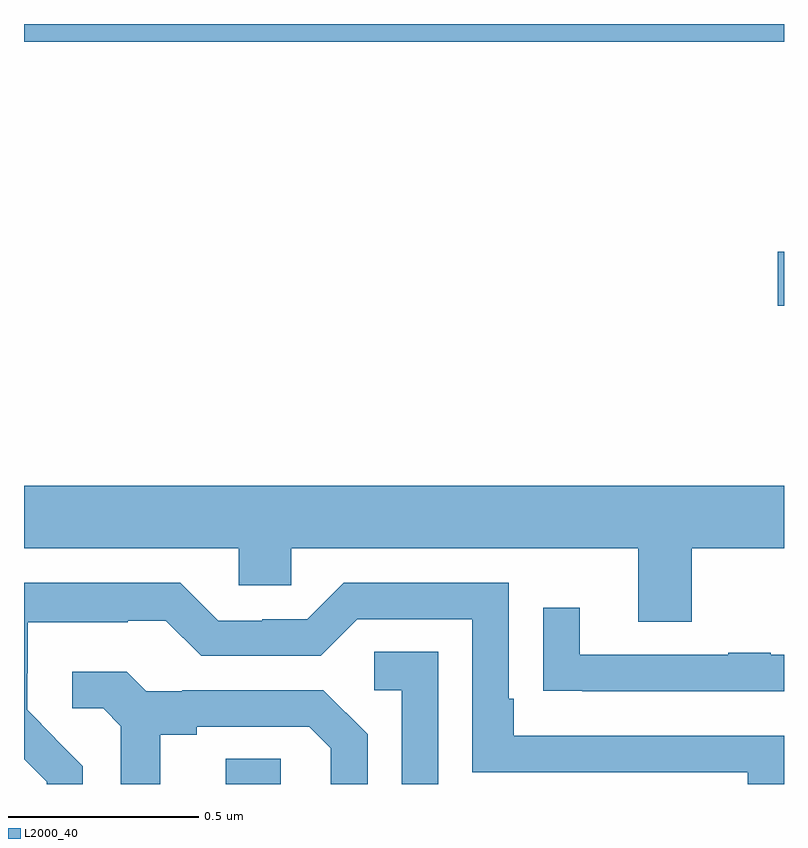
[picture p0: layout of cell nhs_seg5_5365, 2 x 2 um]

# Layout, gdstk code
import gdstk
lib = gdstk.Library(unit=1e-6, precision=1e-09)
def R(c, l, rs):  # rectangles x0, y0, x1, y1
    for r in rs: c.add(gdstk.rectangle(r[:2], r[2:], *l))
def P(c, l, *ps):  # polygons
    for p in ps: c.add(gdstk.Polygon(p, *l))
L2000_40 = (2000, 40)

nhs_seg5_5365 = lib.new_cell('nhs_seg5_5365')
R(nhs_seg5_5365, L2000_40, [(182.531,862.799,182.676,862.865), (183.984,864.058,184,864.2), (182,864.752,184,864.799)])
P(nhs_seg5_5365, L2000_40, [(183.757,863.42),(184,863.42),(184,863.584),(182,863.584),(182,863.42),(182.565,863.42),(182.565,863.322),(182.703,863.322),(182.703,863.42),(183.617,863.42),(183.617,863.226),(183.757,863.226)],
  [(182.154,862.846),(182.081,862.919),(182.082,862.92),(182.008,862.994),(182.008,863.091),(182.01,863.091),(182.01,863.225),(182.273,863.225),(182.273,863.229),(182.373,863.229),(182.466,863.136),(182.781,863.136),(182.877,863.232),(183.18,863.232),(183.18,862.83),(183.905,862.83),(183.905,862.799),(184,862.799),(184,862.926),(183.289,862.926),(183.289,863.023),(183.276,863.023),(183.276,863.328),(182.841,863.328),(182.745,863.232),(182.627,863.232),(182.627,863.229),(182.511,863.229),(182.411,863.329),(182,863.329),(182,862.864),(182.06,862.805),(182.06,862.799),(182.154,862.799)],
  [(184,863.139),(183.965,863.139),(183.965,863.144),(183.853,863.144),(183.853,863.139),(183.463,863.139),(183.463,863.263),(183.367,863.263),(183.367,863.044),(183.469,863.044),(183.469,863.043),(184,863.043)],
  [(183.09,863.147),(182.922,863.147),(182.922,863.046),(182.994,863.046),(182.994,862.799),(183.09,862.799)],
  [(182.359,862.928),(182.455,862.928),(182.455,862.95),(182.75,862.95),(182.807,862.893),(182.807,862.799),(182.904,862.799),(182.904,862.93),(182.788,863.046),(182.416,863.046),(182.416,863.043),(182.322,863.043),(182.27,863.095),(182.127,863.095),(182.127,862.998),(182.208,862.998),(182.255,862.951),(182.255,862.799),(182.359,862.799)])

lib.write_gds('nhs_seg5_5365.gds')
